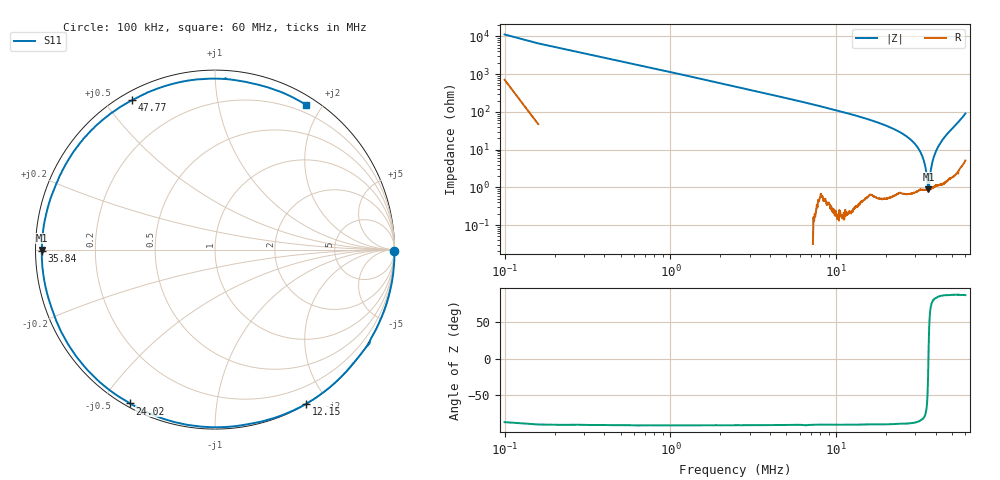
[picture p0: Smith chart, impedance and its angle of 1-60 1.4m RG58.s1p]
# Hz S RI R 50
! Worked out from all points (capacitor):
!   1010 points, 100 kHz to 60 MHz, reference 50 ohm
!   read as one part to ground: C = 143 pF near 396.8 kHz
!   lowest |Z| = 887 mohm at 35.9 MHz (marker M1)
!   series resonance near 35.92 MHz, so ESL is about 140 nH
!   S11 on the Smith chart (normalised r, x): 100 kHz: open; 12.15 MHz: 0.00, -1.75; 24.02 MHz: 0.01, -0.59; 35.84 MHz: 0.02, -0.00; 47.77 MHz: 0.03, +0.59; 60 MHz: 0.10, +1.80
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100000  0.9994 -0.00887
1880950  0.9884 -0.1625
3721265  0.9518 -0.3142
6392690  0.8626 -0.5168
7639355  0.7947 -0.6046
1.007332e7  0.6524 -0.7562
1.21511e7  0.5073 -0.8592
1.511934e7  0.2714 -0.9549
1.719712e7  0.0952 -0.9854
1.891871e7  -0.054 -0.9884
2.075902e7  -0.2118 -0.9642
2.259934e7  -0.3632 -0.9138
2.40241e7  -0.4731 -0.857
2.699234e7  -0.68 -0.7027
3.007932e7  -0.8415 -0.4879
3.31663e7  -0.937 -0.2372
3.583773e7  -0.9652 -0.00721
3.589709e7  -0.9652 -0.00206
3.755929e7  -0.9522 0.1415
3.928085e7  -0.9157 0.2851
4.141795e7  -0.8433 0.4545
4.503931e7  -0.6541 0.699
4.77701e7  -0.464 0.8317
5.026342e7  -0.2707 0.9138
5.25193e7  -0.0848 0.9496
5.435961e7  0.0684 0.9493
5.625929e7  0.2233 0.9226
5.999928e7  0.5065 0.8069
